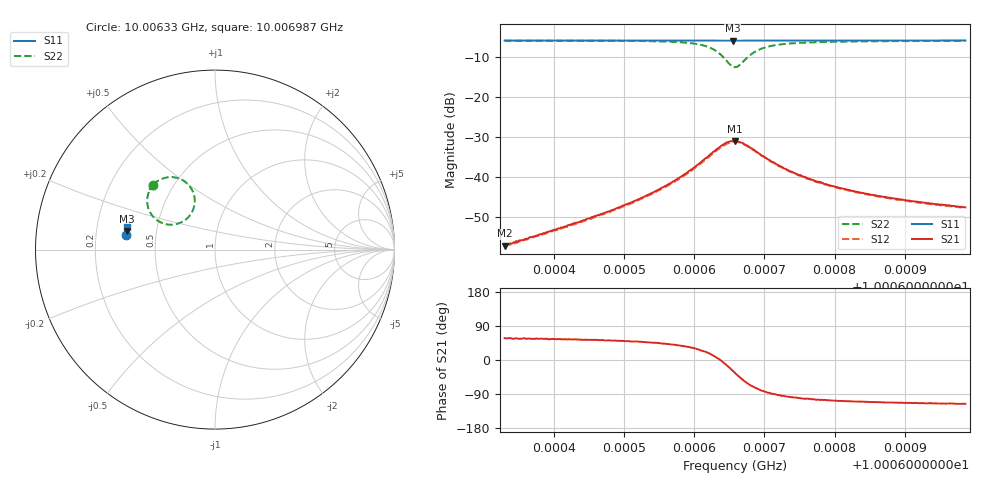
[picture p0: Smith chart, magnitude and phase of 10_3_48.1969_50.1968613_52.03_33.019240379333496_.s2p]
#  HZ  S  RI  R  50.00
! Rohde & Schwarz Vector Network Analyzer
! Rohde-Schwarz,ZNB20-2Port,1311601062101988,3.16
! Created: UTC 3/20/2024, 11:36:31 AM
! freq[Hz]  re:S11  im:S11  re:S21  im:S21  re:S12  im:S12  re:S22  im:S22
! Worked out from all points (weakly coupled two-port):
!   401 points, 10.00633 GHz to 10.006987 GHz, reference 50 ohm
!   highest |S21| = -31.09 dB at 10.006658 GHz (marker M1); lowest = -57.3 dB at 10.00633 GHz (marker M2)
!   lowest |S11| = -6.0 dB at 10.006655 GHz (marker M3), VSWR 3.00, Z = 16.8 + j4.65 ohm
!   |S11| at or under -10 dB: nowhere
!   |S22| runs from -12.6 to -6.0 dB; largest |S21 - S12| = 0.0022
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1.00063297e10  -0.4955 0.0835  0.00073 0.00115  0.000684 0.00116  -0.3449 0.3623
1.00063444e10  -0.4951 0.0845  0.000816 0.00126  0.000739 0.00127  -0.3434 0.3638
1.00064397e10  -0.4943 0.0909  0.00166 0.00225  0.00151 0.00224  -0.3293 0.3756
1.00065037e10  -0.4935 0.0951  0.00291 0.00344  0.00269 0.00347  -0.312 0.3869
1.00065497e10  -0.4927 0.0983  0.00492 0.00488  0.00457 0.00494  -0.2878 0.3974
1.00065858e10  -0.4922 0.1009  0.00857 0.00626  0.00802 0.00648  -0.2493 0.4041
1.0006617e10  -0.4911 0.1028  0.0159 0.00614  0.0151 0.00668  -0.18 0.3868
1.00066285e10  -0.4904 0.1036  0.0204 0.00363  0.0195 0.00468  -0.1439 0.3567
1.000664e10  -0.4895 0.1038  0.0246 -0.00168  0.0239 -0.000445  -0.1157 0.2984
1.00066482e10  -0.4894 0.1038  0.0258 -0.00789  0.0254 -0.00604  -0.1167 0.2399
1.00066548e10  -0.4893 0.1036  0.0244 -0.0132  0.0246 -0.0114  -0.1384 0.193
1.00066581e10  -0.4893 0.1034  0.023 -0.0157  0.0233 -0.0138  -0.156 0.1735
1.00066647e10  -0.4896 0.1035  0.019 -0.0192  0.0199 -0.0175  -0.1999 0.1469
1.00066729e10  -0.4899 0.1037  0.0135 -0.0211  0.0145 -0.0199  -0.2566 0.1391
1.0006686e10  -0.4905 0.1045  0.0064 -0.0203  0.00756 -0.0196  -0.3223 0.1633
1.00066991e10  -0.4908 0.1053  0.0023 -0.0177  0.00325 -0.0172  -0.3558 0.1979
1.00067139e10  -0.4909 0.1066  4.9e-05 -0.0149  0.000669 -0.0146  -0.3715 0.2307
1.0006732e10  -0.4909 0.108  -0.00136 -0.0121  -0.000838 -0.012  -0.3775 0.2597
1.00067681e10  -0.4906 0.1106  -0.00218 -0.00888  -0.00167 -0.00885  -0.3757 0.2946
1.00068092e10  -0.4902 0.1134  -0.00222 -0.0068  -0.00185 -0.00679  -0.3701 0.316
1.00068781e10  -0.4894 0.118  -0.00204 -0.00504  -0.00176 -0.00505  -0.3613 0.3356
1.00069865e10  -0.4879 0.125  -0.00177 -0.00372  -0.00156 -0.00373  -0.3508 0.3522
